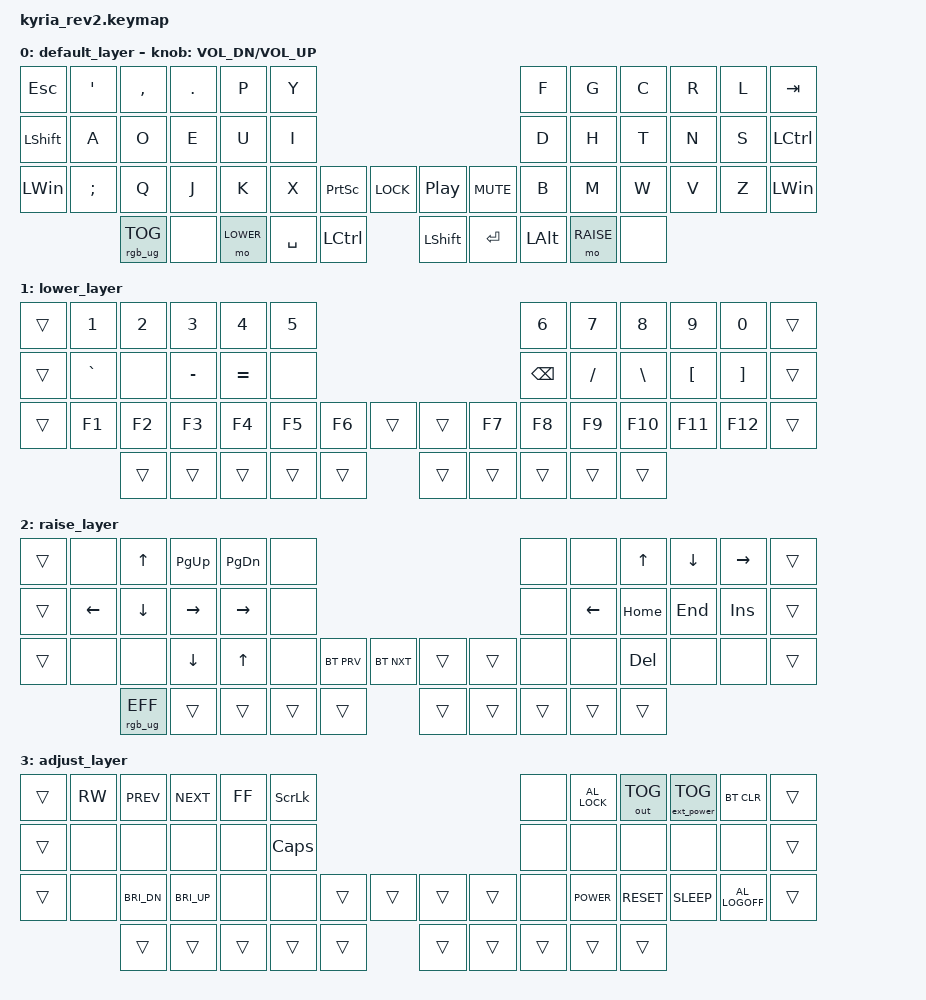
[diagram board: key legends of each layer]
/*
 * Copyright (c) 2024 Alexandru Gherghescu (alexghergh@gmail.com)
 *
 * SPDX-License-Identifier: MIT
 */

#include <behaviors.dtsi>
#include <dt-bindings/zmk/keys.h>
#include <dt-bindings/zmk/rgb.h>
#include <dt-bindings/zmk/bt.h>
#include <dt-bindings/zmk/outputs.h>
#include <dt-bindings/zmk/ext_power.h>

#define DEFAULT 0
#define LOWER   1
#define RAISE   2
#define ADJUST  3

/ {

    conditional_layers {
        compatible = "zmk,conditional-layers";
        tri_layer {
            if-layers = <LOWER RAISE>;
            then-layer = <ADJUST>;
        };
    };

    combos {
        compatible = "zmk,combos";
        combo_super {
            timeout-ms = <50>;
            key-positions = <2 3>; // , and . keys
            bindings = <&sk LWIN>;
        };
    };

    keymap {
        compatible = "zmk,keymap";

        default_layer {
//
// Default layer (layer 0): letters + modifiers + print screen + lock screen + play/pause + mute/unmute
//
//  PSCRN = Printscreen
//  LOCK  = Lock screen (don't logout, keep session running)
//  PLYPS = Play / Pause
//
//  /-----------------------------------------------\                                          /-----------------------------------------------\
//  |  ESC  |   '   |   ,   |   .   |   P   |   Y   |                                          |   F   |   G   |   C   |   R   |   L   |  TAB  |
//  |-------+-------+-------+-------+-------+-------|                                          |-------+-------+-------+-------+-------+-------|
//  | SHIFT |   A   |   O   |   E   |   U   |   I   |                                          |   D   |   H   |   T   |   N   |   S   | CTRL  |
//  |-------+-------+-------+-------+-------+-------+---------------\          /---------------+-------+-------+-------+-------+-------+-------|
//  | SUPER |   ;   |   Q   |   J   |   K   |   X   | PSCRN | LOCK  |          | PLYPS | MUTE  |   B   |   M   |   W   |   V   |   Z   | SUPER |
//  \-----------------------+-------+-------+-------+-------+-------|          |-------+-------+-------+-------+-------+-----------------------/
//                          | RGB_TG| none  | LAYER1| SPACE | CTRL  |          | SHIFT | ENTER |  ALT  | LAYER2| none  |
//                          \---------------------------------------/          \---------------------------------------/

            bindings = <
&kp ESC    &kp APOS &kp COMMA &kp DOT &kp P &kp Y                                                  &kp F    &kp G     &kp C &kp R &kp L &kp TAB
&kp LSHIFT &kp A    &kp O     &kp E   &kp U &kp I                                                  &kp D    &kp H     &kp T &kp N &kp S &kp LCTRL
&kp LWIN   &kp SEMI &kp Q     &kp J   &kp K &kp X     &kp PSCRN &kp K_LOCK   &kp C_PP   &kp C_MUTE &kp B    &kp M     &kp W &kp V &kp Z &kp LWIN
                      &rgb_ug RGB_TOG &none &mo LOWER &kp SPACE &kp LCTRL    &kp LSHIFT &kp ENTER  &kp LALT &mo RAISE &none
            >;

            sensor-bindings = <&inc_dec_kp C_VOL_DN C_VOL_UP>;
        };

        lower_layer {
//
// Lower layer (layer 1): numbers + backspace + f-keys + symbols
//
//  /-----------------------------------------------\                                      /-----------------------------------------------\
//  |  trs  |   1   |   2   |   3   |   4   |   5   |                                      |   6   |   7   |   8   |   9   |   0   |  trs  |
//  |-------+-------+-------+-------+-------+-------|                                      |-------+-------+-------+-------+-------+-------|
//  |  trs  |   `   | none  |   -   |   =   | none  |                                      | BKSPC |   /   |   \   |   [   |   ]   |  trs  |
//  |-------+-------+-------+-------+-------+-------+---------------\      /---------------+-------+-------+-------+-------+-------+-------|
//  |  trs  |  F1   |  F2   |  F3   |  F4   |  F5   |  F6   |  trs  |      |  trs  |  F7   |  F8   |  F9   |  F10  |  F11  |  F12  |  trs  |
//  \-----------------------+-------+-------+-------+-------+-------|      |-------+-------+-------+-------+-------+-----------------------/
//                          |  trs  |  trs  |  trs  |  trs  |  trs  |      |  trs  |  trs  |  trs  |  trs  |  trs  |
//                          \---------------------------------------/      \---------------------------------------/

            bindings = <
    &trans  &kp N1    &kp N2 &kp N3    &kp N4    &kp N5                                  &kp N6   &kp N7   &kp N8   &kp N9   &kp N0   &trans
    &trans  &kp GRAVE &none  &kp MINUS &kp EQUAL &none                                   &kp BSPC &kp FSLH &kp BSLH &kp LBKT &kp RBKT &trans
    &trans  &kp F1    &kp F2 &kp F3    &kp F4    &kp F5 &kp F6 &trans      &trans &kp F7 &kp F8   &kp F9   &kp F10  &kp F11  &kp F12  &trans
                             &trans    &trans    &trans &trans &trans      &trans &trans &trans   &trans   &trans
            >;
        };

        raise_layer {
//
// Raise layer (layer 2): arrow keys + home/end + insert/delete + page up/page down + output selection + bluetooth profiles + rgb effect cycle
//
//  BTPRV  = Bluetooth previous profile
//  BTNXT  = Bluetooth next profile
//  RGBEFF = RGB effect cycle
//
//  /-----------------------------------------------\                                                   /-----------------------------------------------\
//  |  trs  | none  |  UP   | PG_UP | PG_DN | none  |                                                   | none  | none  |  UP   | DOWN  | RIGHT |  trs  |
//  |-------+-------+-------+-------+-------+-------|                                                   |-------+-------+-------+-------+-------+-------|
//  |  trs  | LEFT  | DOWN  | RIGHT | RIGHT | none  |                                                   | none  | LEFT  | HOME  |  END  |  INS  |  trs  |
//  |-------+-------+-------+-------+-------+-------+---------------\                   /---------------+-------+-------+-------+-------+-------+-------|
//  |  trs  | none  | none  | DOWN  |   UP  | none  | BTPRV | BTNXT |                   |  trs  |  trs  | none  | none  |  DEL  | none  | none  |  trs  |
//  \-----------------------+-------+-------+-------+-------+-------|                   |-------+-------+-------+-------+-------+-----------------------/
//                          | RGBEFF|  trs  |  trs  |  trs  |  trs  |                   |  trs  |  trs  |  trs  |  trs  |  trs  |
//                          \---------------------------------------/                   \---------------------------------------/

            bindings = <
    &trans &none    &kp UP   &kp PG_UP       &kp PG_DN &none                                          &none  &none    &kp UP   &kp DOWN &kp RIGHT &trans
    &trans &kp LEFT &kp DOWN &kp RIGHT       &kp RIGHT &none                                          &none  &kp LEFT &kp HOME &kp END  &kp INS   &trans
    &trans &none    &none    &kp DOWN        &kp UP    &none   &bt BT_PRV &bt BT_NXT    &trans &trans &none  &none    &kp DEL  &none    &none     &trans
                             &rgb_ug RGB_EFF &trans    &trans  &trans     &trans        &trans &trans &trans &trans   &trans
            >;
        };

        adjust_layer {
//
// Adjust layer (layer 3): ¯\_(ツ)_/¯ (miscellaneous OS/media stuff) + output toggle + power toggle + bluetooth clear
//
//  REW    = Rewind
//  MPREV  = Media previous
//  MNEXT  = Media next
//  FF     = Fast-forward
//  SCRL   = Scroll lock
//  BRIUP  = Brightness up
//  BRIDN  = Brightness down
//  SCRSV  = Screensaver / Lock
//  OUTTOG = Toggle output selection (Bluetooth / USB)
//  EPTOG  = Toggle external power
//  BTCLR  = Blueetooth clear current profile
//
//  /-----------------------------------------------\                                         /-----------------------------------------------\
//  |  trs  |  REW  | MPREV | MNEXT |  FF   | SCRL  |                                         | none  | SCRSV | OUTTOG| EPTOG | BTCLR |  trs  |
//  |-------+-------+-------+-------+-------+-------|                                         |-------+-------+-------+-------+-------+-------|
//  |  trs  | none  | none  | none  | none  | CAPS  |                                         | none  | none  | none  | none  | none  |  trs  |
//  |-------+-------+-------+-------+-------+-------+---------------\         /---------------+-------+-------+-------+-------+-------+-------|
//  |  trs  | none  | BRIDN | BRIUP | none  | none  |  trs  |  trs  |         |  trs  |  trs  | none  | POWER | RESET | SLEEP | LOGOFF|  trs  |
//  \-----------------------+-------+-------+-------+-------+-------|         |-------+-------+-------+-------+-------+-----------------------/
//                          |  trs  |  trs  |  trs  |  trs  |  trs  |         |  trs  |  trs  |  trs  |  trs  |  trs  |
//                          \---------------------------------------/         \---------------------------------------/

            bindings = <
&trans &kp C_RW &kp C_PREV   &kp C_NEXT   &kp C_FF &kp SLCK                                 &none  &kp C_AL_LOCK &out OUT_TOG &ext_power EP_TOG &bt BT_CLR      &trans
&trans &none    &none        &none        &none    &kp CAPS                                 &none  &none         &none        &none             &none           &trans
&trans &none    &kp C_BRI_DN &kp C_BRI_UP &none    &none    &trans &trans     &trans &trans &none  &kp C_POWER   &kp C_RESET  &kp C_SLEEP       &kp C_AL_LOGOFF &trans
                             &trans       &trans   &trans   &trans &trans     &trans &trans &trans &trans        &trans
            >;
        };
    };
};
